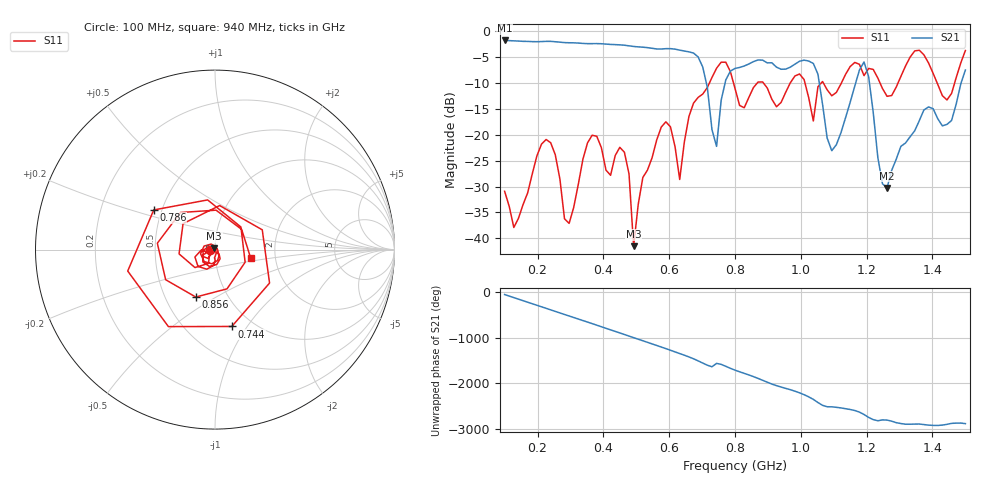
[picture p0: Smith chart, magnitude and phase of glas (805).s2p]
! NanoVNA-App
! Date: 2025-09-25 16:01:44
! Start: 100MHz Stop: 1,5GHz Points: 101
! S-Parameter data: F S11 S21 S12 S22
# Hz S RI R 50
!  Frequency  S11_Real  S11_Imag  S21_Real  S21_Imag  S12_Real  S12_Imag  S22_Real  S22_Imag
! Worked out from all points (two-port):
!   101 points, 100 MHz to 1.5 GHz, reference 50 ohm
!   highest |S21| = -1.80 dB at 100 MHz (marker M1); lowest = -30.3 dB at 1.262 GHz (marker M2)
!   |S21| within 3 dB of the highest: start of sweep to 684.6 MHz
!   lowest |S11| = -41.5 dB at 492 MHz (marker M3), VSWR 1.02, Z = 49.4 + j0.628 ohm
!   |S11| at or under -10 dB: start of sweep to 722.4 MHz; 795.4 MHz to 867.9 MHz (72.43 MHz wide, 8.71 % of centre); 886.3 MHz to 967.9 MHz (81.61 MHz wide, 8.8 % of centre) (the widest 3 of 7)
!   S12 and S22 are empty: the file has one direction only
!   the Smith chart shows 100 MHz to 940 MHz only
!   S11 on the Smith chart (normalised r, x): 100 MHz: 0.94, -0.01; 744 MHz: 0.80, -0.85; 786 MHz: 0.45, +0.24; 856 MHz: 0.71, -0.41; 940 MHz: 1.49, -0.15
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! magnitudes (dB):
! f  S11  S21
! 100 MHz  -30.9  -1.8
! 128 MHz  -37.9  -1.9
! 226 MHz  -20.9  -2.0
! 296 MHz  -37.1  -2.2
! 338 MHz  -24.7  -2.4
! 464 MHz  -23.4  -2.7
! 492 MHz  -41.5  -3.0
! 576 MHz  -18.5  -3.5
! 632 MHz  -28.6  -3.7
! 702 MHz  -12.2  -6.9
! 744 MHz  -7.2  -22.3
! 786 MHz  -7.8  -7.7
! 800 MHz  -11.1  -7.2
! 856 MHz  -10.9  -5.9
! 940 MHz  -13.8  -7.4
! 996 MHz  -8.3  -5.8
! 1.038 GHz  -17.3  -6.2
! 1.094 GHz  -12.5  -23.1
! 1.192 GHz  -8.6  -6.0
! 1.262 GHz  -12.6  -30.3
! 1.276 GHz  -12.4  -26.9
! 1.5 GHz  -3.7  -7.5
